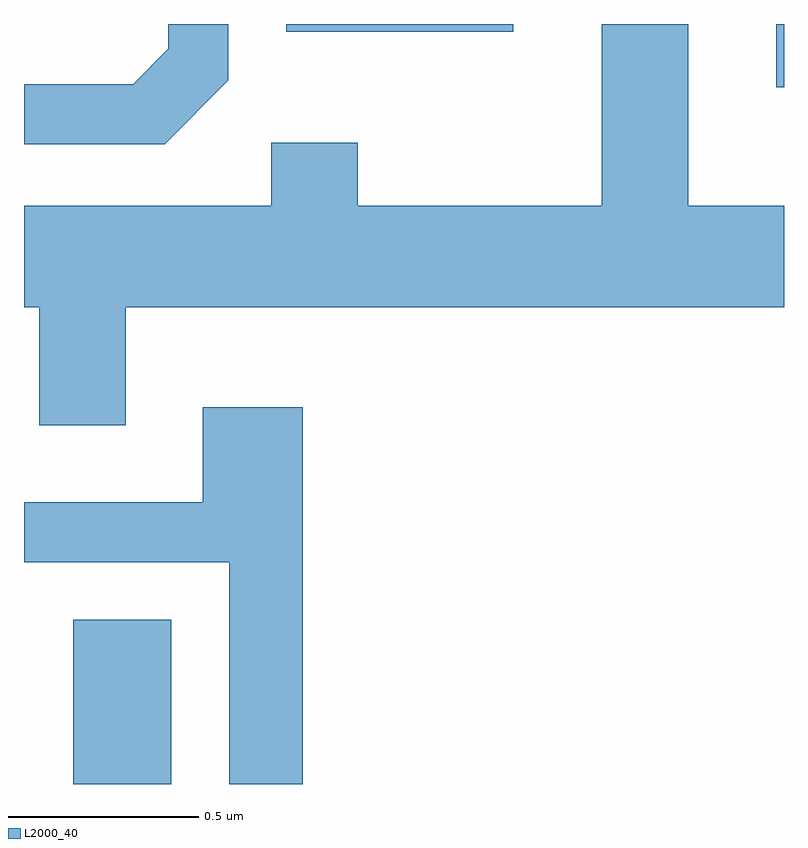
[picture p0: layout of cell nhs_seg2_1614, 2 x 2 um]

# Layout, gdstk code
import gdstk
lib = gdstk.Library(unit=1e-6, precision=1e-09)
def R(c, l, rs):  # rectangles x0, y0, x1, y1
    for r in rs: c.add(gdstk.rectangle(r[:2], r[2:], *l))
def P(c, l, *ps):  # polygons
    for p in ps: c.add(gdstk.Polygon(p, *l))
L2000_40 = (2000, 40)

nhs_seg2_1614 = lib.new_cell('nhs_seg2_1614')
R(nhs_seg2_1614, L2000_40, [(196.741,1084.802,196.999,1085.234), (198.591,1086.636,198.611,1086.802), (197.301,1086.781,197.899,1086.802)])
P(nhs_seg2_1614, L2000_40, [(196.879,1086.056),(198.611,1086.056),(198.611,1086.324),(198.359,1086.324),(198.359,1086.802),(198.131,1086.802),(198.131,1086.324),(197.489,1086.324),(197.489,1086.489),(197.261,1086.489),(197.261,1086.324),(196.611,1086.324),(196.611,1086.056),(196.651,1086.056),(196.651,1085.746),(196.879,1085.746)],
  [(197.149,1086.654),(197.149,1086.802),(196.991,1086.802),(196.991,1086.737),(196.899,1086.644),(196.611,1086.644),(196.611,1086.486),(196.982,1086.486)],
  [(197.344,1085.794),(197.081,1085.794),(197.081,1085.544),(196.611,1085.544),(196.611,1085.386),(197.151,1085.386),(197.151,1084.802),(197.344,1084.802)])

lib.write_gds('nhs_seg2_1614.gds')
